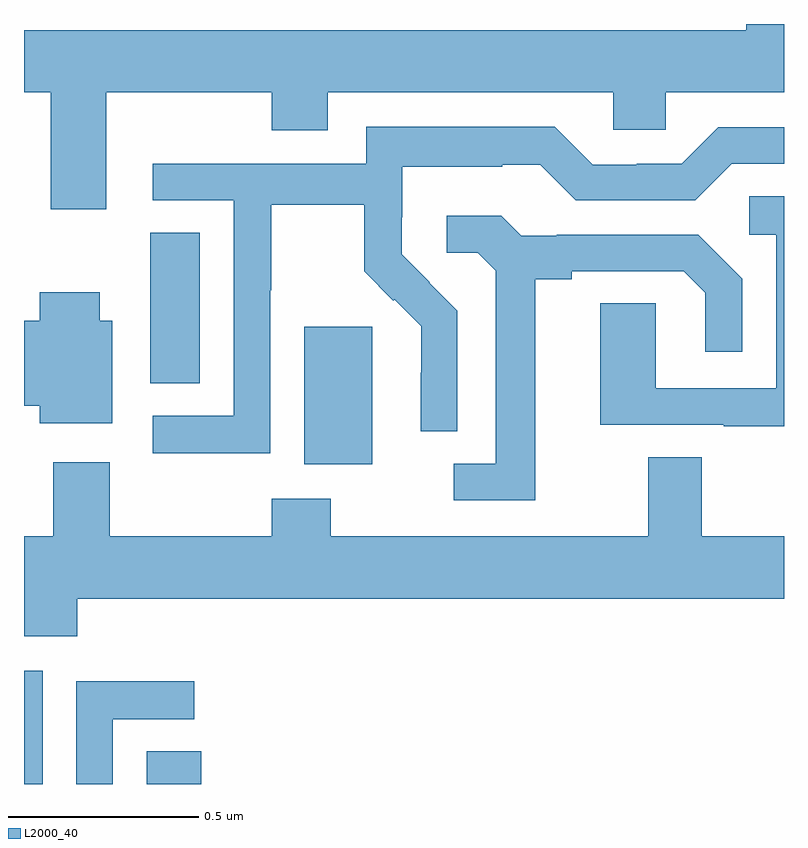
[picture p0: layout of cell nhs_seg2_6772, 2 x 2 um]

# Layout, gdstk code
import gdstk
lib = gdstk.Library(unit=1e-6, precision=1e-09)
def R(c, l, rs):  # rectangles x0, y0, x1, y1
    for r in rs: c.add(gdstk.rectangle(r[:2], r[2:], *l))
def P(c, l, *ps):  # polygons
    for p in ps: c.add(gdstk.Polygon(p, *l))
L2000_40 = (2000, 40)

nhs_seg2_6772 = lib.new_cell('nhs_seg2_6772')
R(nhs_seg2_6772, L2000_40, [(195,661.8,195.049,662.098), (195.323,661.8,195.467,661.886), (195.737,662.642,195.916,663.003), (195.332,662.854,195.463,663.251)])
P(nhs_seg2_6772, L2000_40, [(195.217,663.62),(195.652,663.62),(195.652,663.521),(195.799,663.521),(195.799,663.62),(196.551,663.62),(196.551,663.522),(196.689,663.522),(196.689,663.62),(197,663.62),(197,663.8),(196.901,663.8),(196.901,663.784),(195,663.784),(195,663.62),(195.07,663.62),(195.07,663.312),(195.217,663.312)],
  [(195.648,663.1),(195.651,663.1),(195.651,663.324),(195.895,663.324),(195.895,663.149),(195.972,663.072),(195.975,663.075),(196.046,663.005),(196.046,662.882),(196.044,662.882),(196.044,662.728),(196.14,662.728),(196.14,663.046),(196.067,663.119),(196.068,663.12),(195.994,663.194),(195.994,663.291),(195.996,663.291),(195.996,663.425),(196.259,663.425),(196.259,663.429),(196.359,663.429),(196.452,663.336),(196.767,663.336),(196.863,663.432),(197,663.432),(197,663.528),(196.827,663.528),(196.731,663.432),(196.613,663.432),(196.613,663.429),(196.497,663.429),(196.397,663.529),(195.9,663.529),(195.9,663.432),(195.339,663.432),(195.339,663.336),(195.552,663.336),(195.552,662.769),(195.339,662.769),(195.339,662.671),(195.648,662.671)],
  [(197,663.347),(196.908,663.347),(196.908,663.246),(196.98,663.246),(196.98,662.841),(196.662,662.841),(196.662,663.065),(196.517,663.065),(196.517,662.745),(196.841,662.745),(196.841,662.741),(197,662.741)],
  [(196.345,663.128),(196.441,663.128),(196.441,663.15),(196.736,663.15),(196.793,663.093),(196.793,662.937),(196.89,662.937),(196.89,663.13),(196.774,663.246),(196.402,663.246),(196.402,663.243),(196.308,663.243),(196.256,663.295),(196.113,663.295),(196.113,663.198),(196.194,663.198),(196.241,663.151),(196.241,662.643),(196.131,662.643),(196.131,662.547),(196.345,662.547)],
  [(195.232,663.019),(195.199,663.019),(195.199,663.094),(195.041,663.094),(195.041,663.019),(195,663.019),(195,662.795),(195.041,662.795),(195.041,662.75),(195.232,662.75)],
  [(195.14,662.288),(197,662.288),(197,662.452),(196.783,662.452),(196.783,662.66),(196.643,662.66),(196.643,662.452),(195.807,662.452),(195.807,662.551),(195.652,662.551),(195.652,662.452),(195.225,662.452),(195.225,662.647),(195.077,662.647),(195.077,662.452),(195,662.452),(195,662.189),(195.14,662.189)],
  [(195.234,661.971),(195.448,661.971),(195.448,662.07),(195.138,662.07),(195.138,661.8),(195.234,661.8)])

lib.write_gds('nhs_seg2_6772.gds')
